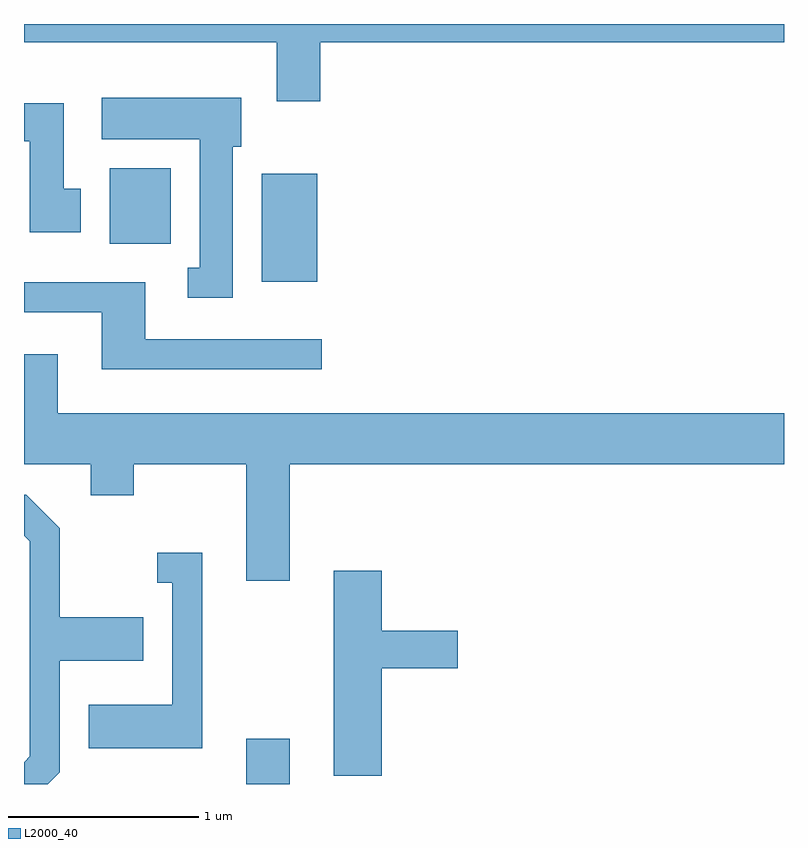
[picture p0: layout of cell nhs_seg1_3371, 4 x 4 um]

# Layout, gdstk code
import gdstk
lib = gdstk.Library(unit=1e-6, precision=1e-09)
def R(c, l, rs):  # rectangles x0, y0, x1, y1
    for r in rs: c.add(gdstk.rectangle(r[:2], r[2:], *l))
def P(c, l, *ps):  # polygons
    for p in ps: c.add(gdstk.Polygon(p, *l))
L2000_40 = (2000, 40)

nhs_seg1_3371 = lib.new_cell('nhs_seg1_3371')
R(nhs_seg1_3371, L2000_40, [(288.781,855.712,289.009,855.949), (288.861,858.356,289.154,858.924), (288.061,858.556,288.384,858.954)])
P(nhs_seg1_3371, L2000_40, [(289.169,859.616),(291.611,859.616),(291.611,859.712),(287.611,859.712),(287.611,859.616),(288.941,859.616),(288.941,859.306),(289.169,859.306)],
  [(288.709,859.066),(288.754,859.066),(288.754,859.324),(288.021,859.324),(288.021,859.106),(288.536,859.106),(288.536,858.429),(288.473,858.429),(288.473,858.271),(288.709,858.271)],
  [(287.909,858.844),(287.819,858.844),(287.819,859.294),(287.611,859.294),(287.611,859.096),(287.641,859.096),(287.641,858.616),(287.909,858.616)],
  [(289.178,858.054),(288.249,858.054),(288.249,858.354),(287.611,858.354),(287.611,858.196),(288.021,858.196),(288.021,857.896),(289.178,857.896)],
  [(289.009,857.396),(291.611,857.396),(291.611,857.664),(287.789,857.664),(287.789,857.974),(287.611,857.974),(287.611,857.396),(287.961,857.396),(287.961,857.231),(288.189,857.231),(288.189,857.396),(288.781,857.396),(288.781,856.781),(289.009,856.781)],
  [(287.799,855.774),(287.799,856.361),(288.239,856.361),(288.239,856.589),(287.799,856.589),(287.799,857.057),(287.622,857.234),(287.611,857.234),(287.611,857.019),(287.641,856.989),(287.641,855.857),(287.611,855.827),(287.611,855.712),(287.737,855.712)],
  [(288.549,856.929),(288.313,856.929),(288.313,856.771),(288.391,856.771),(288.391,856.129),(287.951,856.129),(287.951,855.901),(288.549,855.901)],
  [(289.494,856.321),(289.894,856.321),(289.894,856.519),(289.494,856.519),(289.494,856.834),(289.241,856.834),(289.241,855.756),(289.494,855.756)])

lib.write_gds('nhs_seg1_3371.gds')
